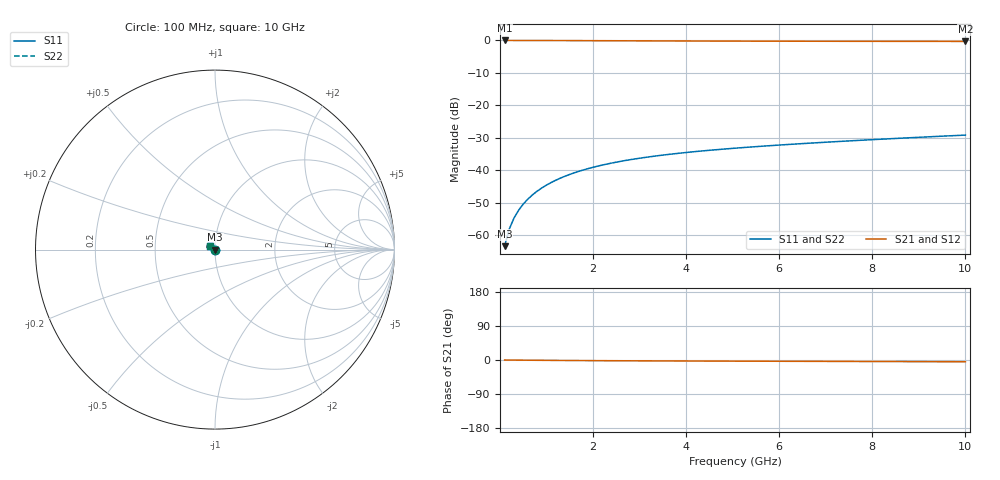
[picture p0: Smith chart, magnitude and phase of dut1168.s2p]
! Touchstone file exported from HFSS 2024.1.0
!  File:  C:/UserFiles/LocalFiles/RDL_TSV_Batchsim/temp_TSV1_1168_1780073536.aedt
!  Generated:  12:57:35 AM May 30, 2026
!  Design:  TSV1
!  Project:  temp_TSV1_1168_1780073536
!  Setup:  Setup1
!  Solution:  Sweep
! Variables:
!  dtsv = 6.44um
!  hbump = 3um
!  htsv = 67.51um
!  lrdl = 252.1521522um
!  p = 40
!  p1 = 51.06um
!  t = 500um
!  trdl = 3um
!  wrdl = 24.89489489um
# GHz S MA R 50.000000
! Terminal data exported
! Port[1] = TSV22_T1
! Port[2] = TSV22_T2
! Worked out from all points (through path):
!   100 points, 100 MHz to 10 GHz, reference 50 ohm
!   highest |S21| = 0.00 dB at 100 MHz (marker M1); lowest = -0.3 dB at 10 GHz (marker M2)
!   lowest |S11| = -63.5 dB at 100 MHz (marker M3), VSWR 1.00, Z = 50 - j0.0608 ohm
!   |S11| at or under -10 dB: start of sweep to end of sweep
!   |S22| runs from -63.5 to -29.2 dB; largest |S21 - S12| = 2e-15
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0.1  0.0006716 -64.8  0.9997 -0.1  0.9997 -0.1  0.0006716 -64.8
! Gamma 0 0 0 0
! Port Impedance 50 0 50 0
0.2  0.001231 -80.1  0.9996 -0.2  0.9996 -0.2  0.001231 -80.1
0.3  0.001813 -87.1  0.9995 -0.3  0.9995 -0.3  0.001813 -87.1
0.4  0.0024 -91.8  0.9993 -0.4  0.9993 -0.4  0.0024 -91.8
0.5  0.002989 -95.5  0.999 -0.5  0.999 -0.5  0.002989 -95.5
0.6  0.003575 -98.7  0.9988 -0.6  0.9988 -0.6  0.003575 -98.7
0.7  0.004159 -101.6  0.9985 -0.6  0.9985 -0.6  0.004159 -101.6
0.8  0.004738 -104.3  0.9981 -0.7  0.9981 -0.7  0.004738 -104.3
0.9  0.005312 -106.9  0.9977 -0.8  0.9977 -0.8  0.005312 -106.9
1.1  0.006438 -111.7  0.9969 -1.0  0.9969 -1.0  0.006438 -111.7
1.4  0.008064 -118.4  0.9954 -1.2  0.9954 -1.2  0.008064 -118.4
1.6  0.009101 -122.6  0.9943 -1.4  0.9943 -1.4  0.009101 -122.6
1.8  0.0101 -126.6  0.9932 -1.5  0.9932 -1.5  0.0101 -126.6
2.1  0.01152 -132.4  0.9914 -1.7  0.9914 -1.7  0.01152 -132.4
2.5  0.01327 -139.7  0.989 -1.9  0.989 -1.9  0.01327 -139.7
2.9  0.01488 -146.4  0.9867 -2.2  0.9867 -2.2  0.01488 -146.4
3.4  0.01671 -154.2  0.9839 -2.4  0.9839 -2.4  0.01671 -154.2
4.2  0.01931 -165.1  0.98 -2.7  0.98 -2.7  0.01931 -165.1
5.1  0.02193 -175.7  0.9765 -3.0  0.9765 -3.0  0.02193 -175.7
6.7  0.02617 169.2  0.972 -3.6  0.972 -3.6  0.02617 169.2
8.4  0.03052 156.9  0.9688 -4.1  0.9688 -4.1  0.03052 156.9
10  0.03469 147.8  0.9666 -4.7  0.9666 -4.7  0.03469 147.8
